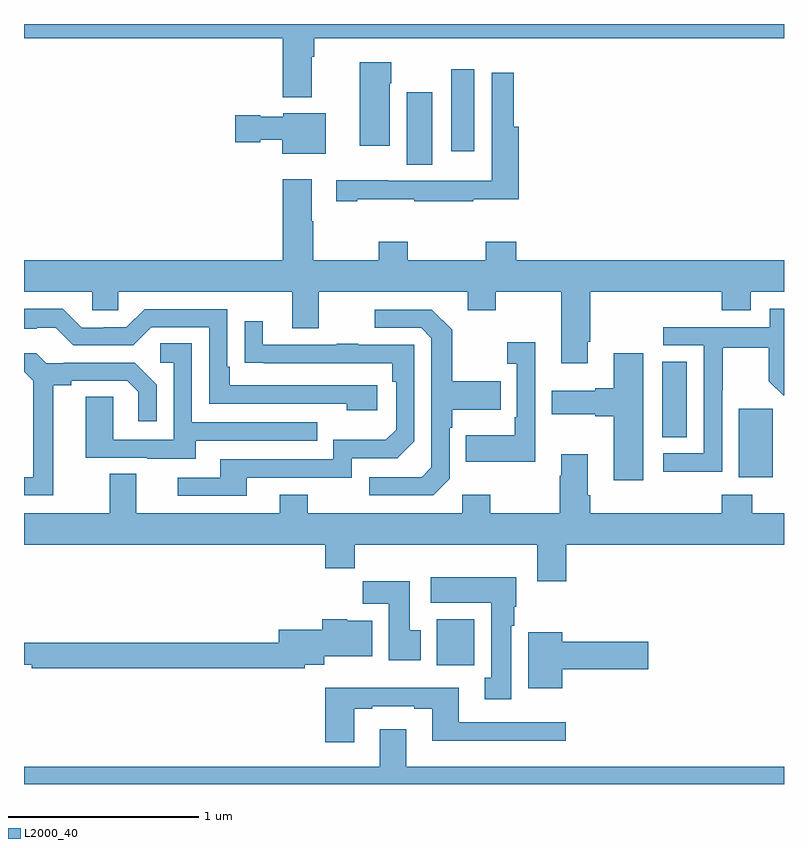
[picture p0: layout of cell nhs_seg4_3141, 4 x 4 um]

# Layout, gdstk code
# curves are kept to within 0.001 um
import gdstk
lib = gdstk.Library(unit=1e-6, precision=1e-09)
def R(c, l, rs):  # rectangles x0, y0, x1, y1
    for r in rs: c.add(gdstk.rectangle(r[:2], r[2:], *l))
def P(c, l, *ps):  # polygons
    for p in ps: c.add(gdstk.Polygon(p, *l))
L2000_40 = (2000, 40)

nhs_seg4_3141 = lib.new_cell('nhs_seg4_3141')
R(nhs_seg4_3141, L2000_40, [(279.173,789.524,279.37,789.766), (280.763,790.514,280.942,790.875), (280.358,790.726,280.489,791.123), (279.014,792.16,279.148,792.541), (279.248,792.231,279.37,792.661)])
P(nhs_seg4_3141, L2000_40, [(278.515,792.728),(278.528,792.728),(278.528,792.824),(281,792.824),(281,792.9),(277,792.9),(277,792.824),(278.363,792.824),(278.363,792.515),(278.515,792.515)],
  [(278.926,792.587),(278.934,792.587),(278.934,792.7),(278.768,792.7),(278.768,792.258),(278.926,792.258)],
  [(278.755,791.977),(279.055,791.977),(279.055,791.967),(279.365,791.967),(279.365,791.977),(279.605,791.977),(279.605,792.358),(279.578,792.358),(279.578,792.643),(279.462,792.643),(279.462,792.076),(279.252,792.076),(279.252,792.075),(278.918,792.075),(278.918,792.077),(278.643,792.077),(278.643,791.967),(278.755,791.967)],
  [(278.587,792.43),(278.364,792.43),(278.364,792.412),(278.244,792.412),(278.244,792.42),(278.112,792.42),(278.112,792.278),(278.244,792.278),(278.244,792.29),(278.36,792.29),(278.36,792.218),(278.587,792.218)],
  [(279.967,791.227),(279.98,791.227),(279.98,791.492),(280.673,791.492),(280.673,791.393),(280.825,791.393),(280.825,791.492),(281,791.492),(281,791.656),(279.59,791.656),(279.59,791.755),(279.43,791.755),(279.43,791.656),(279.021,791.656),(279.021,791.755),(278.866,791.755),(278.866,791.656),(278.523,791.656),(278.523,791.861),(278.515,791.861),(278.515,792.082),(278.363,792.082),(278.363,791.656),(277,791.656),(277,791.492),(277.359,791.492),(277.359,791.394),(277.497,791.394),(277.497,791.492),(278.411,791.492),(278.411,791.298),(278.551,791.298),(278.551,791.492),(279.335,791.492),(279.335,791.393),(279.483,791.393),(279.483,791.492),(279.827,791.492),(279.827,791.115),(279.967,791.115)],
  [(278.86,790.998),(278.083,790.998),(278.083,791.095),(278.07,791.095),(278.07,791.4),(277.635,791.4),(277.539,791.304),(277.421,791.304),(277.421,791.301),(277.305,791.301),(277.205,791.401),(277,791.401),(277,791.297),(277.067,791.297),(277.067,791.301),(277.167,791.301),(277.26,791.208),(277.575,791.208),(277.671,791.304),(277.974,791.304),(277.974,790.902),(278.699,790.902),(278.699,790.868),(278.86,790.868)],
  [(280.674,790.972),(280.677,790.972),(280.677,791.196),(280.921,791.196),(280.921,791.021),(280.998,790.944),(281,790.946),(281,791.401),(280.926,791.401),(280.926,791.304),(280.365,791.304),(280.365,791.208),(280.578,791.208),(280.578,790.641),(280.365,790.641),(280.365,790.543),(280.674,790.543)],
  [(279.24,790.506),(279.24,790.775),(279.253,790.775),(279.253,790.871),(279.509,790.871),(279.509,791.019),(279.253,791.019),(279.253,791.291),(279.147,791.397),(278.847,791.397),(278.847,791.301),(279.09,791.301),(279.144,791.247),(279.144,790.566),(279.093,790.515),(278.817,790.515),(278.817,790.419),(279.153,790.419)],
  [(278.173,790.512),(278.724,790.512),(278.724,790.614),(278.964,790.614),(279.054,790.704),(279.054,791.211),(278.759,791.211),(278.759,791.216),(278.647,791.216),(278.647,791.211),(278.257,791.211),(278.257,791.335),(278.161,791.335),(278.161,791.116),(278.938,791.115),(278.938,791.018),(278.958,791.018),(278.958,790.764),(278.905,790.711),(278.628,790.711),(278.628,790.608),(278.033,790.608),(278.033,790.512),(277.809,790.512),(277.809,790.416),(278.173,790.416)],
  [(279.69,791.224),(279.543,791.224),(279.543,791.111),(279.594,791.111),(279.594,790.831),(279.582,790.831),(279.582,790.735),(279.325,790.735),(279.325,790.595),(279.69,790.595)],
  [(277.903,790.707),(278.543,790.707),(278.543,790.803),(277.884,790.803),(277.884,791.219),(277.716,791.219),(277.716,791.118),(277.788,791.118),(277.788,790.713),(277.47,790.713),(277.47,790.937),(277.325,790.937),(277.325,790.617),(277.649,790.617),(277.649,790.613),(277.903,790.613)],
  [(277.153,791),(277.249,791),(277.249,791.022),(277.544,791.022),(277.601,790.965),(277.601,790.809),(277.698,790.809),(277.698,791.002),(277.582,791.118),(277.21,791.118),(277.21,791.115),(277.116,791.115),(277.064,791.167),(277,791.167),(277,791.07),(277.002,791.07),(277.049,791.023),(277.049,790.515),(277,790.515),(277,790.419),(277.153,790.419)],
  [(280.258,791.167),(280.103,791.167),(280.103,790.982),(280.007,790.982),(280.007,790.969),(279.777,790.969),(279.777,790.847),(280.007,790.847),(280.007,790.835),(280.103,790.835),(280.103,790.5),(280.258,790.5)],
  [(278.493,790.423),(278.345,790.423),(278.345,790.324),(277.591,790.324),(277.591,790.532),(277.451,790.532),(277.451,790.324),(277,790.324),(277,790.16),(278.585,790.16),(278.585,790.036),(278.741,790.036),(278.741,790.16),(279.701,790.16),(279.701,789.966),(279.854,789.966),(279.854,790.16),(281,790.16),(281,790.324),(280.833,790.324),(280.833,790.423),(280.673,790.423),(280.673,790.324),(279.98,790.324),(279.98,790.42),(279.967,790.42),(279.967,790.636),(279.827,790.636),(279.827,790.523),(279.82,790.523),(279.82,790.324),(279.453,790.324),(279.453,790.423),(279.306,790.423),(279.306,790.324),(278.493,790.324)],
  [(279.565,789.734),(279.58,789.734),(279.58,789.834),(279.592,789.834),(279.592,789.988),(279.141,789.988),(279.141,789.854),(279.458,789.854),(279.458,789.458),(279.425,789.458),(279.425,789.345),(279.565,789.345)],
  [(279.088,789.708),(279.031,789.708),(279.031,789.967),(278.782,789.967),(278.782,789.848),(278.921,789.848),(278.921,789.552),(279.088,789.552)],
  [(278.477,789.527),(278.581,789.527),(278.581,789.572),(278.833,789.572),(278.833,789.76),(278.7,789.76),(278.7,789.766),(278.57,789.766),(278.57,789.712),(278.342,789.712),(278.342,789.644),(277,789.644),(277,789.527),(277.042,789.527),(277.042,789.508),(278.477,789.508)],
  [(279.832,789.503),(280.285,789.503),(280.285,789.65),(279.832,789.65),(279.832,789.7),(279.653,789.7),(279.653,789.404),(279.832,789.404)],
  [(278.737,789.297),(278.833,789.297),(278.833,789.309),(279.053,789.309),(279.053,789.297),(279.149,789.297),(279.149,789.128),(279.85,789.128),(279.85,789.225),(279.289,789.225),(279.289,789.406),(278.585,789.406),(278.585,789.12),(278.737,789.12)],
  [(281,788.992),(279.013,788.992),(279.013,789.187),(278.873,789.187),(278.873,788.992),(277,788.992),(277,788.9),(281,788.9)])

lib.write_gds('nhs_seg4_3141.gds')
